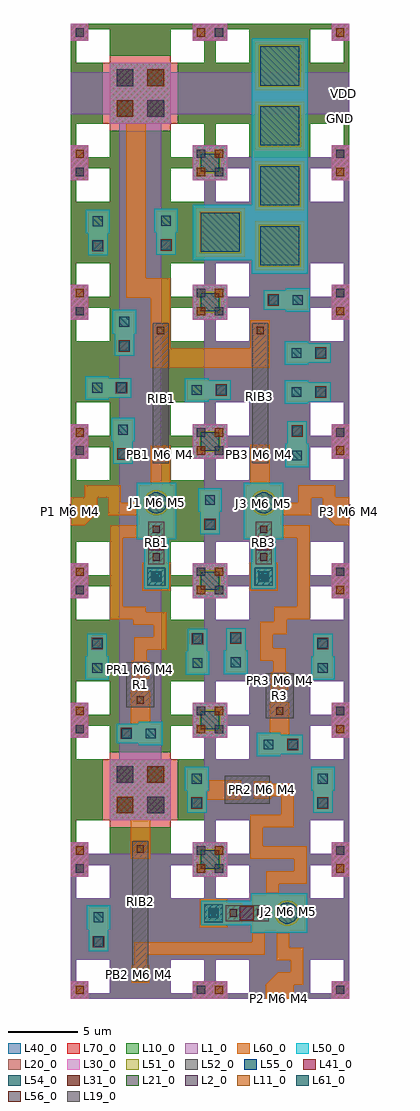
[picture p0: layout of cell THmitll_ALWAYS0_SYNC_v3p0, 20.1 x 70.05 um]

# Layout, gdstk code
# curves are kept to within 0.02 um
from math import pi, radians
import gdstk
lib = gdstk.Library(unit=1e-6, precision=1e-09)
def R(c, l, rs):  # rectangles x0, y0, x1, y1
    for r in rs: c.add(gdstk.rectangle(r[:2], r[2:], *l))
def A(c, l, x, y, w, h, nx, ny, dx, dy):  # array of equal rectangles
    R(c, l, [(x+i*dx, y+j*dy, x+i*dx+w, y+j*dy+h) for i in range(nx) for j in range(ny)])
def P(c, l, *ps):  # polygons
    for p in ps: c.add(gdstk.Polygon(p, *l))
L1_0 = (1, 0)
L2_0 = (2, 0)
L10_0 = (10, 0)
L11_0 = (11, 0)
L19_0 = (19, 0)
L20_0 = (20, 0)
L21_0 = (21, 0)
L30_0 = (30, 0)
L31_0 = (31, 0)
L40_0 = (40, 0)
L41_0 = (41, 0)
L50_0 = (50, 0)
L51_0 = (51, 0)
L52_0 = (52, 0)
L54_0 = (54, 0)
L55_0 = (55, 0)
L56_0 = (56, 0)
L60_0 = (60, 0)
L61_0 = (61, 0)
L70_0 = (70, 0)

ls_tr_m7_1 = lib.new_cell('ls_tr_M7$1')
P(ls_tr_m7_1, L70_0, [(0,0),(0,10),(1.25,10),(1.25,8.75),(0.4,8.75),(0.4,1.25),(1.25,1.25),(1.25,0.4),(2.8,0.4),(2.8,2.8),(0.4,2.8),(0.4,7.2),(2.8,7.2),(2.8,9.6),(1.25,9.6),(1.25,10),(7.2,10),(7.2,0.4),(8.75,0.4),(8.75,1.25),(9.6,1.25),(9.6,2.8),(7.2,2.8),(7.2,7.2),(9.6,7.2),(9.6,8.75),(8.75,8.75),(8.75,9.6),(7.2,9.6),(7.2,10),(10,10),(10,0)])

ls_tr_u_m4_nptl = lib.new_cell('ls_tr_u_M4_NPTL')
P(ls_tr_u_m4_nptl, L1_0, [(0,0),(0,10),(1.25,10),(1.25,8.75),(0.4,8.75),(0.4,1.25),(1.25,1.25),(1.25,0.4),(2.8,0.4),(2.8,2.8),(0.4,2.8),(0.4,7.2),(2.8,7.2),(2.8,9.6),(1.25,9.6),(1.25,10),(7.2,10),(7.2,0.4),(8.75,0.4),(8.75,1.25),(9.6,1.25),(9.6,2.8),(7.2,2.8),(7.2,7.2),(9.6,7.2),(9.6,8.75),(8.75,8.75),(8.75,9.6),(7.2,9.6),(7.2,10),(10,10),(10,0)])
R(ls_tr_u_m4_nptl, L2_0, [(9.05,0.35,9.65,0.95), (0.35,9.05,0.95,9.65)])
R(ls_tr_u_m4_nptl, L10_0, [(0,0,1.25,1.25), (8.75,0,10,1.25), (0,8.75,1.25,10), (8.75,8.75,10,10)])
P(ls_tr_u_m4_nptl, L10_0, [(1.25,0),(1.25,0.4),(2.8,0.4),(2.8,2.8),(0.4,2.8),(0.4,1.25),(0,1.25),(0,8.75),(0.4,8.75),(0.4,7.2),(2.8,7.2),(2.8,9.6),(1.25,9.6),(1.25,10),(8.75,10),(8.75,9.6),(7.2,9.6),(7.2,7.2),(9.6,7.2),(9.6,8.75),(10,8.75),(10,1.25),(9.6,1.25),(9.6,2.8),(7.2,2.8),(7.2,0.4),(8.75,0.4),(8.75,0)])
R(ls_tr_u_m4_nptl, L11_0, [(0.35,0.35,0.95,0.95), (9.05,9.05,9.65,9.65)])
R(ls_tr_u_m4_nptl, L20_0, [(0,0,1.25,1.25), (8.75,0,10,1.25), (0,8.75,1.25,10), (8.75,8.75,10,10)])
R(ls_tr_u_m4_nptl, L21_0, [(9.05,0.35,9.65,0.95), (0.35,9.05,0.95,9.65)])
R(ls_tr_u_m4_nptl, L30_0, [(0,0,1.25,1.25), (8.75,0,10,1.25), (0,8.75,1.25,10), (8.75,8.75,10,10)])
R(ls_tr_u_m4_nptl, L31_0, [(0.35,0.35,0.95,0.95), (9.05,9.05,9.65,9.65)])
P(ls_tr_u_m4_nptl, L40_0, [(0,0),(0,10),(1.25,10),(1.25,8.75),(0.4,8.75),(0.4,1.25),(1.25,1.25),(1.25,0.4),(2.8,0.4),(2.8,2.8),(0.4,2.8),(0.4,7.2),(2.8,7.2),(2.8,9.6),(1.25,9.6),(1.25,10),(7.2,10),(7.2,0.4),(8.75,0.4),(8.75,1.25),(9.6,1.25),(9.6,2.8),(7.2,2.8),(7.2,7.2),(9.6,7.2),(9.6,8.75),(8.75,8.75),(8.75,9.6),(7.2,9.6),(7.2,10),(10,10),(10,0)])
ls_tr_u_m4_nptl.add(gdstk.Reference(ls_tr_m7_1, (0,0)))

ls_tr_bias_pillar_m0m6 = lib.new_cell('ls_tr_bias_pillar_M0M6')
R(ls_tr_bias_pillar_m0m6, L1_0, [(0,0,1.25,1.25), (8.75,0,10,1.25), (2.8,2.8,7.2,7.2), (0,8.75,1.25,10), (8.75,8.75,10,10)])
R(ls_tr_bias_pillar_m0m6, L2_0, [(9.05,0.35,9.65,0.95), (5.5,3.3,6.7,4.5), (3.3,5.5,4.5,6.7), (0.35,9.05,0.95,9.65)])
R(ls_tr_bias_pillar_m0m6, L10_0, [(0,0,1.25,1.25), (8.75,0,10,1.25), (2.8,2.8,7.2,7.2), (0,8.75,1.25,10), (8.75,8.75,10,10)])
P(ls_tr_bias_pillar_m0m6, L10_0, [(0,0),(0,10),(7.2,10),(7.2,7.7),(2.8,7.7),(2.8,9.6),(1.25,9.6),(1.25,8.75),(0.4,8.75),(0.4,7.2),(2.3,7.2),(2.3,2.8),(0.4,2.8),(0.4,1.25),(1.25,1.25),(1.25,0.4),(2.8,0.4),(2.8,2.3),(7.2,2.3),(7.2,0.4),(8.75,0.4),(8.75,1.25),(9.6,1.25),(9.6,2.8),(7.7,2.8),(7.7,7.2),(9.6,7.2),(9.6,8.75),(8.75,8.75),(8.75,9.6),(7.2,9.6),(7.2,10),(10,10),(10,0)])
R(ls_tr_bias_pillar_m0m6, L11_0, [(0.35,0.35,0.95,0.95), (3.3,3.3,4.5,4.5), (5.5,5.5,6.7,6.7), (9.05,9.05,9.65,9.65)])
R(ls_tr_bias_pillar_m0m6, L20_0, [(0,0,1.25,1.25), (8.75,0,10,1.25), (2.8,2.8,7.2,7.2), (0,8.75,1.25,10), (8.75,8.75,10,10)])
R(ls_tr_bias_pillar_m0m6, L21_0, [(9.05,0.35,9.65,0.95), (5.5,3.3,6.7,4.5), (3.3,5.5,4.5,6.7), (0.35,9.05,0.95,9.65)])
R(ls_tr_bias_pillar_m0m6, L30_0, [(0,0,1.25,1.25), (8.75,0,10,1.25), (2.8,2.8,7.2,7.2), (0,8.75,1.25,10), (8.75,8.75,10,10)])
R(ls_tr_bias_pillar_m0m6, L31_0, [(0.35,0.35,0.95,0.95), (3.3,3.3,4.5,4.5), (5.5,5.5,6.7,6.7), (9.05,9.05,9.65,9.65)])
R(ls_tr_bias_pillar_m0m6, L40_0, [(2.8,2.8,7.2,7.2)])
P(ls_tr_bias_pillar_m0m6, L40_0, [(0,0),(0,10),(7.2,10),(7.2,7.7),(2.8,7.7),(2.8,9.6),(1.25,9.6),(1.25,8.75),(0.4,8.75),(0.4,7.2),(2.3,7.2),(2.3,2.8),(0.4,2.8),(0.4,1.25),(1.25,1.25),(1.25,0.4),(2.8,0.4),(2.8,2.3),(7.2,2.3),(7.2,0.4),(8.75,0.4),(8.75,1.25),(9.6,1.25),(9.6,2.8),(7.7,2.8),(7.7,7.2),(9.6,7.2),(9.6,8.75),(8.75,8.75),(8.75,9.6),(7.2,9.6),(7.2,10),(10,10),(10,0)])
R(ls_tr_bias_pillar_m0m6, L41_0, [(5.5,3.3,6.7,4.5), (3.3,5.5,4.5,6.7)])
R(ls_tr_bias_pillar_m0m6, L50_0, [(2.8,2.8,7.2,7.2)])
R(ls_tr_bias_pillar_m0m6, L54_0, [(3.3,3.3,4.5,4.5), (5.5,5.5,6.7,6.7)])
R(ls_tr_bias_pillar_m0m6, L60_0, [(2.8,2.8,7.2,7.2)])
P(ls_tr_bias_pillar_m0m6, L70_0, [(0,0),(0,10),(1.25,10),(1.25,8.75),(0.4,8.75),(0.4,1.25),(1.25,1.25),(1.25,0.4),(2.8,0.4),(2.8,2.8),(0.4,2.8),(0.4,7.2),(2.8,7.2),(2.8,9.6),(1.25,9.6),(1.25,10),(7.2,10),(7.2,0.4),(8.75,0.4),(8.75,1.25),(9.6,1.25),(9.6,2.8),(7.2,2.8),(7.2,7.2),(9.6,7.2),(9.6,8.75),(8.75,8.75),(8.75,9.6),(7.2,9.6),(7.2,10),(10,10),(10,0)])

ls_tr_m7 = lib.new_cell('ls_tr_M7')
P(ls_tr_m7, L70_0, [(0,0),(0,10),(1.25,10),(1.25,8.75),(0.4,8.75),(0.4,1.25),(1.25,1.25),(1.25,0.4),(2.8,0.4),(2.8,2.8),(0.4,2.8),(0.4,7.2),(2.8,7.2),(2.8,9.6),(1.25,9.6),(1.25,10),(7.2,10),(7.2,0.4),(8.75,0.4),(8.75,1.25),(9.6,1.25),(9.6,2.8),(7.2,2.8),(7.2,7.2),(9.6,7.2),(9.6,8.75),(8.75,8.75),(8.75,9.6),(7.2,9.6),(7.2,10),(10,10),(10,0)])

ls_tr_u_m4_alt = lib.new_cell('ls_tr_u_M4_alt')
R(ls_tr_u_m4_alt, L1_0, [(0,0,1.25,1.25), (8.75,0,10,1.25), (0,8.75,1.25,10), (8.75,8.75,10,10)])
R(ls_tr_u_m4_alt, L2_0, [(9.05,0.35,9.65,0.95), (0.35,9.05,0.95,9.65)])
R(ls_tr_u_m4_alt, L10_0, [(0,0,1.25,1.25), (1.25,0,8.75,0.4), (8.75,0,10,1.25), (2.8,0.4,7.2,9.6), (0,1.25,0.4,8.75), (9.6,1.25,10,8.75), (0.4,2.8,2.8,7.2), (7.2,2.8,9.6,7.2), (0,8.75,1.25,10), (8.75,8.75,10,10), (1.25,9.6,8.75,10)])
R(ls_tr_u_m4_alt, L11_0, [(0.35,0.35,0.95,0.95), (9.05,9.05,9.65,9.65)])
R(ls_tr_u_m4_alt, L20_0, [(0,0,1.25,1.25), (8.75,0,10,1.25), (0,8.75,1.25,10), (8.75,8.75,10,10)])
R(ls_tr_u_m4_alt, L21_0, [(9.05,0.35,9.65,0.95), (0.35,9.05,0.95,9.65)])
R(ls_tr_u_m4_alt, L30_0, [(0,0,1.25,1.25), (8.75,0,10,1.25), (0,8.75,1.25,10), (8.75,8.75,10,10)])
R(ls_tr_u_m4_alt, L31_0, [(0.35,0.35,0.95,0.95), (9.05,9.05,9.65,9.65)])
P(ls_tr_u_m4_alt, L40_0, [(0,0),(0,10),(1.25,10),(1.25,8.75),(0.4,8.75),(0.4,1.25),(1.25,1.25),(1.25,0.4),(2.8,0.4),(2.8,2.8),(0.4,2.8),(0.4,7.2),(2.8,7.2),(2.8,9.6),(1.25,9.6),(1.25,10),(7.2,10),(7.2,0.4),(8.75,0.4),(8.75,1.25),(9.6,1.25),(9.6,2.8),(7.2,2.8),(7.2,7.2),(9.6,7.2),(9.6,8.75),(8.75,8.75),(8.75,9.6),(7.2,9.6),(7.2,10),(10,10),(10,0)])
ls_tr_u_m4_alt.add(gdstk.Reference(ls_tr_m7, (0,0)))

ls_conn_m5m6m7 = lib.new_cell('ls_conn_M5M6M7')
R(ls_conn_m5m6m7, L60_0, [(-0.65,-0.65,1.35,1.35)])
R(ls_conn_m5m6m7, L61_0, [(-0.3,-0.3,1,1)])
R(ls_conn_m5m6m7, L70_0, [(-0.65,-0.65,1.35,1.35)])

th_jj_250_sg = lib.new_cell('th_jj_250_sg')
R(th_jj_250_sg, L41_0, [(-0.5,2.4,0.5,3.4)])
R(th_jj_250_sg, L50_0, [(-1.425,-1.425,1.425,2.625), (-0.875,2.625,0.875,6.175)])
P(th_jj_250_sg, L51_0, [(0,-0.91),(-0.18,-0.895),(-0.35,-0.84),(-0.645,-0.645),(-0.84,-0.35),(-0.91,0),(-0.895,0.18),(-0.84,0.35),(-0.645,0.645),(-0.35,0.84),(-0.18,0.895),(0,0.91),(0.18,0.895),(0.35,0.84),(0.645,0.645),(0.84,0.35),(0.895,0.18),(0.91,0),(0.84,-0.35),(0.645,-0.645),(0.35,-0.84),(0.18,-0.895)])
R(th_jj_250_sg, L52_0, [(-0.575,1.35,0.575,4.425)])
R(th_jj_250_sg, L54_0, [(-0.35,4.95,0.35,5.65)])
P(th_jj_250_sg, L55_0, [(0,-0.76),(-0.15,-0.75),(-0.29,-0.7),(-0.54,-0.54),(-0.7,-0.29),(-0.75,-0.15),(-0.76,0),(-0.75,0.15),(-0.7,0.29),(-0.54,0.54),(-0.29,0.7),(-0.15,0.75),(0,0.76),(0.15,0.75),(0.29,0.7),(0.54,0.54),(0.7,0.29),(0.75,0.15),(0.76,0),(0.75,-0.15),(0.7,-0.29),(0.54,-0.54),(0.29,-0.7),(0.15,-0.75)])
R(th_jj_250_sg, L56_0, [(-0.26,1.64,0.26,2.16), (-0.26,3.63,0.26,4.15)])
R(th_jj_250_sg, L60_0, [(-1.275,-1.275,1.275,2.525), (-0.725,3.25,0.725,6.025)])
th_jj_250_sg.add(gdstk.Reference(ls_conn_m5m6m7, (0.35,4.95), rotation=pi/2))

th_ib_175 = lib.new_cell('th_ib_175')
R(th_ib_175, L52_0, [(-0.575,0,0.575,10.05)])
R(th_ib_175, L56_0, [(-0.26,0.29,0.26,0.81), (-0.26,9.26,0.26,9.78)])
R(th_ib_175, L60_0, [(-0.625,-0.1,0.625,1.175), (-0.625,8.9,0.625,10.15)])

ls_conn_m4m5m6m7 = lib.new_cell('ls_conn_M4M5M6M7')
R(ls_conn_m4m5m6m7, L40_0, [(0,0,1.4,1.4)])
R(ls_conn_m4m5m6m7, L41_0, [(0.3,0.3,1.1,1.1)])
P(ls_conn_m4m5m6m7, L50_0, [(1.6,-0.15),(1.6,0),(0,0),(0,1.4),(1.6,1.4),(1.6,1.55),(3.3,1.55),(3.3,-0.15)])
R(ls_conn_m4m5m6m7, L54_0, [(2.1,0.35,2.8,1.05)])
R(ls_conn_m4m5m6m7, L60_0, [(0,0,3.15,1.4)])
R(ls_conn_m4m5m6m7, L61_0, [(0.35,0.35,1.05,1.05)])
R(ls_conn_m4m5m6m7, L70_0, [(0,0,1.4,1.4)])

ls_fakejj_3umx3um = lib.new_cell('ls_FakeJJ_3umx3um')
R(ls_fakejj_3umx3um, L40_0, [(-2,-2,2,2)])
R(ls_fakejj_3umx3um, L50_0, [(-2,-2,2,2)])
R(ls_fakejj_3umx3um, L51_0, [(-1.5,-1.5,1.5,1.5)])
R(ls_fakejj_3umx3um, L55_0, [(-1.4,-1.4,1.4,1.4)])
R(ls_fakejj_3umx3um, L60_0, [(-1.75,-1.75,1.75,1.75)])

ls_fakejj_1p5x1p5um = lib.new_cell('ls_FakeJJ_1p5x1p5um')
R(ls_fakejj_1p5x1p5um, L40_0, [(-1.25,-1.25,1.25,1.25)])
R(ls_fakejj_1p5x1p5um, L50_0, [(-1.25,-1.25,1.25,1.25)])
R(ls_fakejj_1p5x1p5um, L51_0, [(-0.75,-0.75,0.75,0.75)])
R(ls_fakejj_1p5x1p5um, L55_0, [(-0.65,-0.65,0.65,0.65)])
R(ls_fakejj_1p5x1p5um, L60_0, [(-1,-1,1,1)])

ls_res_2 = lib.new_cell('ls_res_2')
R(ls_res_2, L52_0, [(-1,0,1,3.225)])
R(ls_res_2, L56_0, [(-0.26,0.29,0.26,0.81), (-0.26,2.44,0.26,2.96)])
R(ls_res_2, L60_0, [(-0.625,-0.1,0.625,1.175), (-0.625,2.075,0.625,3.325)])

thmitll_always0_sync_v3p = lib.new_cell('THmitll_ALWAYS0_SYNC_v3p0')
A(thmitll_always0_sync_v3p, L1_0, 9.6, 11.25, 0.4, 7.5, 1, 5, 0, 10)
R(thmitll_always0_sync_v3p, L1_0, [(1.25,10,8.75,10.4), (11.25,60,18.75,60.4)])
R(thmitll_always0_sync_v3p, L19_0, [(4.7,1.5,5.25,2.05), (13.5,14.75,14,15.25), (14.75,22.5,15.35,23.05), (4.75,23.3,5.3,23.85), (6.2,38.75,6.7,39.25), (13.35,38.75,13.85,39.25)])
R(thmitll_always0_sync_v3p, L50_0, [(13,52.05,17,68.95), (8.75,53,13.25,57)])
P(thmitll_always0_sync_v3p, L60_0, [(14,1),(14.9,1.9),(14.9,1)],
  [(19,34),(18.1,34.9),(19,34.9)],
  [(1,34),(1,34.9),(1.9,34.9)])
thmitll_always0_sync_v3p.add(gdstk.FlexPath([(15,0),(15,1)], 2, ends="flush", simple_path=True, layer=60, datatype=0))  # L60_0
thmitll_always0_sync_v3p.add(gdstk.FlexPath([(14.9,1.45),(16.25,1.45),(16.25,3.225),(15.225,3.225),(15.225,5.025)], 0.9, ends="flush", simple_path=True, layer=60, datatype=0))  # L60_0
thmitll_always0_sync_v3p.add(gdstk.FlexPath([(5,15),(5,10.05)], 1.4, ends="flush", simple_path=True, layer=60, datatype=0))  # L60_0
thmitll_always0_sync_v3p.add(gdstk.FlexPath([(5,1.25),(5,3.6),(13.475,3.6),(13.475,5)], 0.9, ends="flush", simple_path=True, layer=60, datatype=0))  # L60_0
thmitll_always0_sync_v3p.add(gdstk.FlexPath([(5,22.1),(5,19.6)], 1.4, ends="flush", simple_path=True, layer=60, datatype=0))  # L60_0
thmitll_always0_sync_v3p.add(gdstk.FlexPath([(5,22.975),(5,25.5),(6.4,25.5),(6.4,27.3),(4.95,27.3),(4.95,27.7),(3.3,27.7),(3.3,33.525),(5,33.525)], 0.9, ends="flush", simple_path=True, layer=60, datatype=0))  # L60_0
thmitll_always0_sync_v3p.add(gdstk.FlexPath([(12.225,15),(9.65,15)], 1.4, ends="flush", simple_path=True, layer=60, datatype=0))  # L60_0
thmitll_always0_sync_v3p.add(gdstk.FlexPath([(13.125,15),(15.55,15),(15.55,12.75),(13.35,12.75),(13.35,10.5),(16.5,10.5),(16.5,8.7),(14.5,8.7),(14.5,7.3)], 0.9, ends="flush", simple_path=True, layer=60, datatype=0))  # L60_0
thmitll_always0_sync_v3p.add(gdstk.FlexPath([(20,35),(19,35)], 2, ends="flush", simple_path=True, layer=60, datatype=0))  # L60_0
thmitll_always0_sync_v3p.add(gdstk.FlexPath([(0,35),(1,35)], 2, ends="flush", simple_path=True, layer=60, datatype=0))  # L60_0
thmitll_always0_sync_v3p.add(gdstk.FlexPath([(13.6,39.75),(13.6,36.75)], 1.4, ends="flush", simple_path=True, layer=60, datatype=0))  # L60_0
thmitll_always0_sync_v3p.add(gdstk.FlexPath([(6.45,39.7),(6.45,36.75)], 1.4, ends="flush", simple_path=True, layer=60, datatype=0))  # L60_0
thmitll_always0_sync_v3p.add(gdstk.FlexPath([(13.6,48.7),(13.6,46),(6.45,46),(6.45,48.75)], 1.4, ends="flush", simple_path=True, layer=60, datatype=0))  # L60_0
thmitll_always0_sync_v3p.add(gdstk.FlexPath([(4.7,65),(4.7,51)], 1.4, ends="flush", simple_path=True, layer=60, datatype=0))  # L60_0
thmitll_always0_sync_v3p.add(gdstk.FlexPath([(6.45,47.3),(6.45,51),(4,51)], 1.4, ends="flush", simple_path=True, layer=60, datatype=0))  # L60_0
thmitll_always0_sync_v3p.add(gdstk.FlexPath([(18.55,34.9),(18.55,36.4),(16.8,36.4),(16.8,35.15),(15,35.15)], 0.9, ends="flush", simple_path=True, layer=60, datatype=0))  # L60_0
thmitll_always0_sync_v3p.add(gdstk.FlexPath([(1.45,34.9),(1.45,36.4),(3.15,36.4),(3.15,35.15),(5,35.15)], 0.9, ends="flush", simple_path=True, layer=60, datatype=0))  # L60_0
thmitll_always0_sync_v3p.add(gdstk.FlexPath([(15,22.175),(15,24.7),(14.05,24.7),(14.05,26.6),(15.05,26.6),(15.05,27.7),(16.7,27.7),(16.7,33.525),(15,33.525)], 0.9, ends="flush", simple_path=True, layer=60, datatype=0))  # L60_0
thmitll_always0_sync_v3p.add(gdstk.FlexPath([(15,21.3),(15,18.8)], 1.4, ends="flush", simple_path=True, layer=60, datatype=0))  # L60_0
thmitll_always0_sync_v3p.add(gdstk.FlexPath([(5,15),(5,65)], 3, ends="flush", simple_path=True, layer=1, datatype=0))  # L1_0
thmitll_always0_sync_v3p.add(gdstk.FlexPath([(0,65),(20,65)], 3, ends="flush", simple_path=True, layer=1, datatype=0))  # L1_0
thmitll_always0_sync_v3p.add(gdstk.FlexPath([(14.5,0),(15.5,0)], 0.1, ends="flush", simple_path=True, layer=19, datatype=0))  # L19_0
thmitll_always0_sync_v3p.add(gdstk.FlexPath([(20,35.5),(20,34.5)], 0.1, ends="flush", simple_path=True, layer=19, datatype=0))  # L19_0
thmitll_always0_sync_v3p.add(gdstk.FlexPath([(0,35.5),(0,34.5)], 0.1, ends="flush", simple_path=True, layer=19, datatype=0))  # L19_0
r = gdstk.Reference(ls_tr_u_m4_nptl, (10,0)); r.repetition = gdstk.Repetition(1, 6, v1=(0,0), v2=(0,10)); thmitll_always0_sync_v3p.add(r)
thmitll_always0_sync_v3p.add(gdstk.Reference(ls_tr_bias_pillar_m0m6, (10,70), rotation=pi))
thmitll_always0_sync_v3p.add(gdstk.Reference(ls_tr_u_m4_alt, (10,60)))
thmitll_always0_sync_v3p.add(gdstk.Reference(th_jj_250_sg, (6.15,35.6), rotation=pi))
thmitll_always0_sync_v3p.add(gdstk.Reference(th_jj_250_sg, (13.85,35.6), rotation=pi))
thmitll_always0_sync_v3p.add(gdstk.Reference(th_ib_175, (13.6,38.45)))
thmitll_always0_sync_v3p.add(gdstk.Reference(th_ib_175, (6.45,38.45)))
thmitll_always0_sync_v3p.add(gdstk.Reference(ls_conn_m4m5m6m7, (2.65,53.35), rotation=pi/2))
thmitll_always0_sync_v3p.add(gdstk.Reference(ls_conn_m4m5m6m7, (4.55,46.15), rotation=pi/2))
thmitll_always0_sync_v3p.add(gdstk.Reference(ls_conn_m4m5m6m7, (4.35,44.55), rotation=pi))
thmitll_always0_sync_v3p.add(gdstk.Reference(ls_conn_m4m5m6m7, (4.45,38.4), rotation=pi/2))
thmitll_always0_sync_v3p.add(gdstk.Reference(ls_conn_m4m5m6m7, (11.5,44.4), rotation=pi))
r = gdstk.Reference(ls_fakejj_3umx3um, (15,66.95), rotation=pi); r.repetition = gdstk.Repetition(1, 4, v1=(0,0), v2=(0,-4.3)); thmitll_always0_sync_v3p.add(r)
thmitll_always0_sync_v3p.add(gdstk.Reference(ls_fakejj_3umx3um, (10.75,55), rotation=pi))
thmitll_always0_sync_v3p.add(gdstk.Reference(ls_conn_m4m5m6m7, (7.55,53.4), rotation=pi/2))
thmitll_always0_sync_v3p.add(gdstk.Reference(ls_conn_m4m5m6m7, (13.85,49.45)))
thmitll_always0_sync_v3p.add(gdstk.Reference(ls_conn_m4m5m6m7, (18.65,47.05), rotation=pi))
thmitll_always0_sync_v3p.add(gdstk.Reference(ls_conn_m4m5m6m7, (18.65,44.25), rotation=pi))
thmitll_always0_sync_v3p.add(gdstk.Reference(ls_conn_m4m5m6m7, (15.55,41.45), rotation=3*pi/2))
thmitll_always0_sync_v3p.add(gdstk.Reference(ls_conn_m4m5m6m7, (10.7,33.35), rotation=pi/2))
thmitll_always0_sync_v3p.add(gdstk.Reference(ls_fakejj_1p5x1p5um, (10,20), rotation=pi/2))
thmitll_always0_sync_v3p.add(gdstk.Reference(ls_fakejj_1p5x1p5um, (10,30), rotation=pi/2))
thmitll_always0_sync_v3p.add(gdstk.Reference(ls_fakejj_1p5x1p5um, (10,40), rotation=pi/2))
thmitll_always0_sync_v3p.add(gdstk.Reference(ls_fakejj_1p5x1p5um, (10,50), rotation=pi/2))
thmitll_always0_sync_v3p.add(gdstk.Reference(ls_fakejj_1p5x1p5um, (10,60), rotation=pi/2))
thmitll_always0_sync_v3p.add(gdstk.Reference(ls_fakejj_1p5x1p5um, (10,10), rotation=pi/2))
thmitll_always0_sync_v3p.add(gdstk.Reference(ls_res_2, (5,24.15), rotation=pi))
thmitll_always0_sync_v3p.add(gdstk.Reference(ls_res_2, (15,23.35), rotation=pi))
thmitll_always0_sync_v3p.add(gdstk.Reference(ls_conn_m4m5m6m7, (8.4,26.55), rotation=3*pi/2))
thmitll_always0_sync_v3p.add(gdstk.Reference(ls_conn_m4m5m6m7, (17.4,26.2), rotation=3*pi/2))
thmitll_always0_sync_v3p.add(gdstk.Reference(ls_conn_m4m5m6m7, (1.2,26.2), rotation=3*pi/2))
thmitll_always0_sync_v3p.add(gdstk.Reference(ls_conn_m4m5m6m7, (3.3,18.35)))
thmitll_always0_sync_v3p.add(gdstk.Reference(ls_conn_m4m5m6m7, (16.65,18.95), rotation=pi))
thmitll_always0_sync_v3p.add(gdstk.Reference(th_jj_250_sg, (15.55,6.15), rotation=pi/2))
thmitll_always0_sync_v3p.add(gdstk.Reference(th_ib_175, (5,11.3), rotation=pi))
thmitll_always0_sync_v3p.add(gdstk.Reference(ls_tr_u_m4_nptl, (0,0)))
thmitll_always0_sync_v3p.add(gdstk.Reference(ls_tr_bias_pillar_m0m6, (10,20), rotation=pi))
r = gdstk.Reference(ls_tr_u_m4_alt, (0,20)); r.repetition = gdstk.Repetition(1, 4, v1=(0,0), v2=(0,10)); thmitll_always0_sync_v3p.add(r)
thmitll_always0_sync_v3p.add(gdstk.Reference(ls_conn_m4m5m6m7, (2.7,3.4), rotation=pi/2))
thmitll_always0_sync_v3p.add(gdstk.Reference(ls_conn_m4m5m6m7, (11.15,26.6), rotation=3*pi/2))
thmitll_always0_sync_v3p.add(gdstk.Reference(ls_conn_m4m5m6m7, (9.75,13.35), rotation=pi/2))
thmitll_always0_sync_v3p.add(gdstk.Reference(ls_res_2, (14.3,15), rotation=pi/2))
thmitll_always0_sync_v3p.add(gdstk.Reference(ls_conn_m4m5m6m7, (18.8,13.35), rotation=pi/2))
thmitll_always0_sync_v3p.add(gdstk.Label('GND', (19.35,63.2), layer=40, texttype=0))
thmitll_always0_sync_v3p.add(gdstk.Label('VDD', (19.6,65), layer=1, texttype=0))
thmitll_always0_sync_v3p.add(gdstk.Label('PR1 M6 M4', (5,23.6), layer=182, texttype=0))
thmitll_always0_sync_v3p.add(gdstk.Label('PR2 M6 M4', (13.75,15.05), layer=182, texttype=0))
thmitll_always0_sync_v3p.add(gdstk.Label('J2 M6 M5', (15.6,6.3), layer=182, texttype=0))
thmitll_always0_sync_v3p.add(gdstk.Label('PB2 M6 M4', (4.95,1.75), layer=182, texttype=0))
thmitll_always0_sync_v3p.add(gdstk.Label('P2 M6 M4', (15,0), layer=182, texttype=0))
thmitll_always0_sync_v3p.add(gdstk.Label('PR3 M6 M4', (15.05,22.85), layer=182, texttype=0))
thmitll_always0_sync_v3p.add(gdstk.Label('J3 M6 M5', (13.85,35.55), layer=182, texttype=0))
thmitll_always0_sync_v3p.add(gdstk.Label('PB3 M6 M4', (13.55,39.05), layer=182, texttype=0))
thmitll_always0_sync_v3p.add(gdstk.Label('P3 M6 M4', (20,35), layer=182, texttype=0))
thmitll_always0_sync_v3p.add(gdstk.Label('PB1 M6 M4', (6.45,39.05), layer=182, texttype=0))
thmitll_always0_sync_v3p.add(gdstk.Label('P1 M6 M4', (0,35), layer=182, texttype=0))
thmitll_always0_sync_v3p.add(gdstk.Label('J1 M6 M5', (6.2,35.6), layer=182, texttype=0))
thmitll_always0_sync_v3p.add(gdstk.Label('R1', (5,22.55), layer=52, texttype=11))
thmitll_always0_sync_v3p.add(gdstk.Label('R2', (12.6,14.95), layer=52, texttype=11))
thmitll_always0_sync_v3p.add(gdstk.Label('RB2', (12.6,6.2), layer=52, texttype=11))
thmitll_always0_sync_v3p.add(gdstk.Label('RIB2', (5,7), layer=52, texttype=11))
thmitll_always0_sync_v3p.add(gdstk.Label('R3', (15,21.75), layer=52, texttype=11))
thmitll_always0_sync_v3p.add(gdstk.Label('RB3', (13.85,32.75), layer=52, texttype=11))
thmitll_always0_sync_v3p.add(gdstk.Label('RIB3', (13.55,43.25), layer=52, texttype=11))
thmitll_always0_sync_v3p.add(gdstk.Label('RIB1', (6.5,43.05), layer=52, texttype=11))
thmitll_always0_sync_v3p.add(gdstk.Label('RB1', (6.15,32.75), layer=52, texttype=11))
thmitll_always0_sync_v3p.add(gdstk.Label('clk', (15,0), layer=60, texttype=5))
thmitll_always0_sync_v3p.add(gdstk.Label('a', (0,35), layer=60, texttype=5))
thmitll_always0_sync_v3p.add(gdstk.Label('q', (20,35), layer=60, texttype=5))

lib.write_gds('THmitll_ALWAYS0_SYNC_v3p0.gds')
